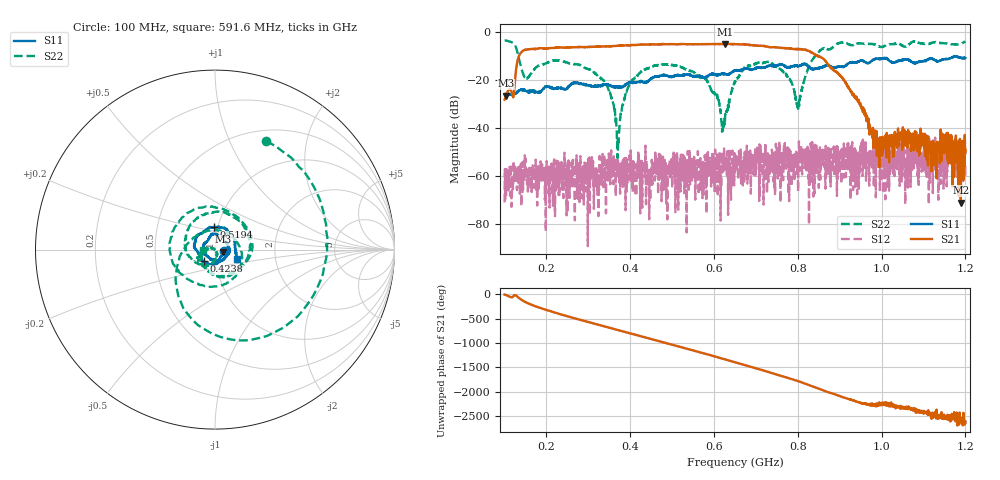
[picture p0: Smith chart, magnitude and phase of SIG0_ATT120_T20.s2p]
# Hz S DB R 50
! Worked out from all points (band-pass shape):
!   1601 points, 100 MHz to 1.2 GHz, reference 50 ohm
!   highest |S21| = -4.92 dB at 625.9 MHz (marker M1); lowest = -71.1 dB at 1.189 GHz (marker M2)
!   |S21| within 3 dB of the highest: 142.8 MHz to 826.3 MHz (683.5 MHz wide, 141 % of centre)
!   lowest |S11| = -26.5 dB at 103.4 MHz (marker M3), VSWR 1.10, Z = 54.8 - j1.31 ohm
!   |S11| at or under -10 dB: start of sweep to end of sweep
!   |S22| runs from -52.5 to -3.5 dB; largest |S21 - S12| = 0.57
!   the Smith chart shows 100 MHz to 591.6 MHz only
!   S11 on the Smith chart (normalised r, x): 100 MHz: 1.10, -0.02; 423.8 MHz: 0.88, -0.11; 519.4 MHz: 0.96, +0.24; 591.6 MHz: 1.27, -0.13
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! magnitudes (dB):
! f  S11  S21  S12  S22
! 100 MHz  -25.9  -28.2  -71.1  -3.5
! 103.4 MHz  -26.5  -26.5  -68.0  -3.5
! 119.9 MHz  -25.8  -26.6  -65.4  -4.5
! 144 MHz  -24.3  -7.8  -65.5  -17.2
! 283.6 MHz  -21.7  -6.3  -66.5  -14.1
! 342 MHz  -21.9  -5.9  -75.6  -21.7
! 370.9 MHz  -22.7  -5.7  -53.5  -47.1
! 392.9 MHz  -21.6  -5.5  -62.9  -24.0
! 423.8 MHz  -21.0  -5.2  -75.6  -16.9
! 467.1 MHz  -18.6  -5.1  -60.5  -13.7
! 519.4 MHz  -18.1  -5.0  -52.8  -14.6
! 591.6 MHz  -17.6  -5.0  -54.6  -23.4
! 625.9 MHz  -17.3  -4.9  -58.1  -37.5
! 650 MHz  -16.1  -5.0  -59.2  -20.5
! 732.5 MHz  -13.9  -6.2  -53.7  -12.3
! 799.9 MHz  -14.4  -7.2  -52.7  -30.5
! 833.6 MHz  -15.5  -8.6  -62.5  -11.8
! 909.9 MHz  -14.4  -20.0  -46.5  -4.3
! 988.9 MHz  -11.3  -51.7  -49.0  -5.6
! 1.017 GHz  -11.8  -43.5  -49.5  -5.1
! 1.189 GHz  -10.6  -71.1  -63.4  -4.9
! 1.2 GHz  -10.8  -49.1  -54.6  -3.9
